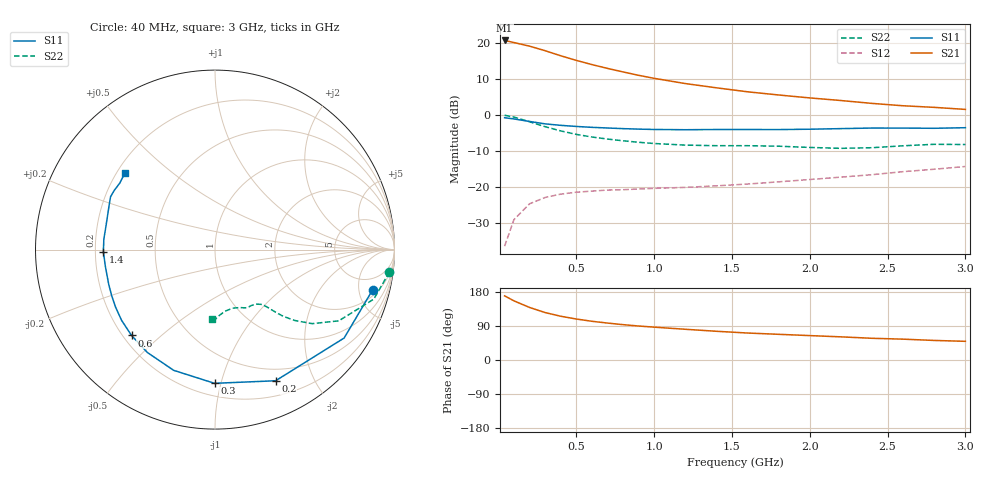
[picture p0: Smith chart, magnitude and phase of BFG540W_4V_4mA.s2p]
! Filename:  BFG540WA.S2P  Version:  4.0
! Philips part #: BFG540  Date: Jun 1994
! Bias condition: Vce=4.0V, Ic=4.0mA
! IN LINE PINNING: same data as with cross emitter pinning.
#  MHz  S  MA  R  50
! Freq  S11  S21  S12  S22  !GUM [dB]
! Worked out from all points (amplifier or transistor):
!   21 points, 40 MHz to 3 GHz, reference 50 ohm
!   highest |S21| = 20.6 dB at 40 MHz (marker M1)
!   |S21| within 3 dB of that: start of sweep to 311.5 MHz
!   unconditionally stable (mu >= 1): 1.456 GHz to end of sweep
!   at 300 MHz: K = 0.24, MSG = 20.4 dB, |S12| = -23.0 dB
!   at 1 GHz: K = 0.77, MSG = 15.3 dB, |S12| = -20.4 dB
!   at 3 GHz: K = 1.10, MAG = 5.9 dB, |S12| = -14.4 dB
!   S11 on the Smith chart (normalised r, x): 40 MHz: 2.77, -6.94; 200 MHz: 0.36, -1.50; 300 MHz: 0.29, -0.95; 600 MHz: 0.23, -0.40; 1.4 GHz: 0.23, -0.01; 3 GHz: 0.23, +0.35
40  0.907 -14.2  10.69 169.3  0.015 82.1  0.98 -7.3
100  0.872 -34.4  9.997 156.1  0.035 70.3  0.927 -17.3
200  0.805 -65.2  8.913 138.7  0.058 56.0  0.796 -29.9
300  0.745 -90.2  7.707 125.2  0.071 47.2  0.681 -37.3
400  0.711 -108.9  6.559 115.5  0.079 42.0  0.595 -41.6
500  0.686 -123.3  5.66 108.2  0.084 39.4  0.533 -44.3
600  0.667 -134.2  4.953 102.2  0.087 38.3  0.49 -45.8
700  0.653 -142.8  4.383 97.5  0.09 37.8  0.459 -46.8
800  0.64 -150.0  3.915 93.3  0.091 38.2  0.434 -47.7
900  0.63 -156.1  3.514 89.7  0.093 39.0  0.414 -48.7
1000  0.623 -161.9  3.191 86.7  0.095 40.5  0.398 -50.0
1200  0.618 -171.5  2.7 81.1  0.098 43.8  0.378 -53.5
1400  0.622 -179.0  2.357 75.8  0.103 46.9  0.371 -57.4
1600  0.622 174.6  2.075 71.2  0.109 51.6  0.371 -60.4
1800  0.621 168.5  1.874 67.8  0.117 54.6  0.365 -62.8
2000  0.628 162.3  1.706 64.4  0.126 58.4  0.351 -66.9
2200  0.64 157.1  1.57 61.1  0.136 61.6  0.341 -73.3
2400  0.652 153.2  1.432 57.3  0.147 65.3  0.348 -80.9
2600  0.651 149.5  1.328 55.0  0.162 67.4  0.37 -86.8
2800  0.647 145.0  1.262 51.6  0.175 68.4  0.388 -89.8
3000  0.659 139.6  1.182 49.3  0.191 70.1  0.385 -92.9
